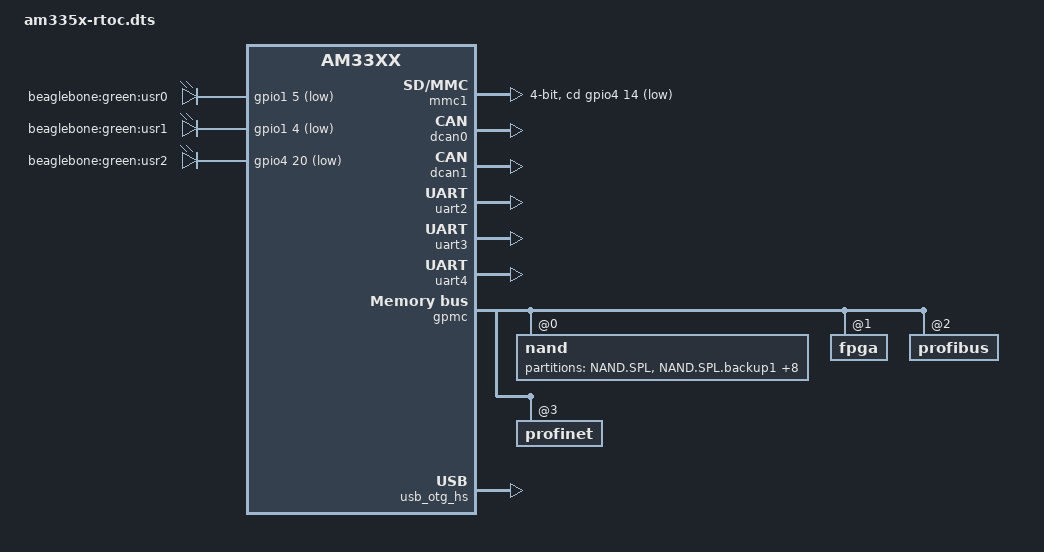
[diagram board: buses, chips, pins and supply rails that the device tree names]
/*
 * Copyright (C) 2012 Texas Instruments Incorporated - http://www.ti.com/
 *
 * This program is free software; you can redistribute it and/or modify
 * it under the terms of the GNU General Public License version 2 as
 * published by the Free Software Foundation.
 */
/dts-v1/;

/include/ "am33xx.dtsi"

/include/ "am335x-agv-common.dtsi"

&cpu {
	/*
	 * To consider voltage drop between PMIC and SoC,
	 * tolerance value is reduced to 2% from 4% and
	 * voltage value is increased as a precaution.
	 */
	operating-points = <
		/* kHz    uV */
		800000	1300000
		600000  1112000
		300000   969000
	>;
};

&i2c2 {
	status = "disabled";
};

&am33xx_pinmux {
	userled_pins: pinmux_userled_pins {
		pinctrl-single,pins = <
			0x15C 0x7	/* SPI0_CS0.gpio0_5 */
			0x158 0x7	/* SPI0_D1.gpio0_4 */
			0x1A8 0x7	/* MCASP0_AXR1.gpio3_20 */
		>;
	};
	gpmc_pins: pinmux_gpmc_pins {
		pinctrl-single,pins = <
			0x0	0x30	/* gpmc_ad0.gpmc_ad0 */
			0x4	0x30	/* gpmc_ad1.gpmc_ad1 */
			0x8	0x30	/* gpmc_ad2.gpmc_ad2 */
			0xc	0x30	/* gpmc_ad3.gpmc_ad3 */
			0x10	0x30	/* gpmc_ad4.gpmc_ad4 */
			0x14	0x30	/* gpmc_ad5.gpmc_ad5 */
			0x18	0x30	/* gpmc_ad6.gpmc_ad6 */
			0x1c	0x30	/* gpmc_ad7.gpmc_ad7 */
			0x70	0x30	/* gpmc_wait0.gpmc_wait0 */
			/* 0x74	0x37 */	/* gpmc_wpn.gpio0_30 */
			0x7c	0x10	/* gpmc_csn0.gpmc_csn0  */
			0x90	0x10	/* gpmc_advn_ale.gpmc_advn_ale */
			0x94	0x10	/* gpmc_oen_ren.gpmc_oen_ren */
			0x98	0x10	/* gpmc_wen.gpmc_wen */
			0x9c	0x10	/* gpmc_be0n_cle.gpmc_be0n_cle */
			/* for fpga */
			0x20	0x30	/* gpmc_ad8.gpmc_ad8 MODE0 | INPUT | PULLUP */
			0x24	0x30	/* gpmc_ad9.gpmc_ad9 MODE0 | INPUT | PULLUP */
			0x28	0x30	/* gpmc_ad10.gpmc_ad10 MODE0 | INPUT | PULLUP */
			0x2C	0x30	/* gpmc_ad11.gpmc_ad11 MODE0 | INPUT | PULLUP */
			0x30	0x30	/* gpmc_ad12.gpmc_ad12 MODE0 | INPUT | PULLUP */
			0x34	0x30	/* gpmc_ad13.gpmc_ad13 MODE0 | INPUT | PULLUP */
			0x38	0x30	/* gpmc_ad14.gpmc_ad14 MODE0 | INPUT | PULLUP */
			0x3C	0x30	/* gpmc_ad15.gpmc_ad15 MODE0 | INPUT | PULLUP */
			0x80	0x08	/* gpmc_cscn1.gpmc_cscn1 MODE0 | OUTPUT */
			0x40	0x08	/* gpmc_a0.gpmc_a0 MODE0 */
			0x44	0x08	/* gpmc_a1.gpmc_a1 MODE0 */
			0x48	0x08	/* gpmc_a2.gpmc_a2 MODE0 */
			0x4C	0x08	/* gpmc_a3.gpmc_a2 MODE0 */
			0x50	0x08	/* gpmc_a4.gpmc_a4 MODE0 */
			0x54	0x08	/* gpmc_a5.gpmc_a5 MODE0 */
			0x58	0x08	/* gpmc_a6.gpmc_a6 MODE0 */
			0x5C	0x08	/* gpmc_a7.gpmc_a7 MODE0 */
			/* for profibus&profinet */
			0x84	0x08	/* gpmc_cscn2.gpmc_cscn2 MODE0 | OUTPUT */
			0x88	0x08	/* gpmc_cscn3.gpmc_cscn3 MODE0 | OUTPUT */
			0x60	0x08	/* gpmc_a8.gpmc_a8 MODE0 */
			0x64	0x08	/* gpmc_a9.gpmc_a9 MODE0 */
			0x68	0x08	/* gpmc_a10.gpmc_a10 MODE0 */
			0x6C	0x08	/* gpmc_a11.gpmc_a11 MODE0 */
		>;
	};
	mmc1_pins: pinmux_mmc1_pins {
		pinctrl-single,pins = <
			0x1A4 0x2f /* GPIO3_19 (PIN_INPUT | MUX_MODE7) */
		>;
	};
	dcan0_pins: pinmux_dcan0_pins {
		pinctrl-single,pins = <
			0x178 0x12 	/* uart1_ctsn, SLEWCTRL_FAST | INPUT_PULLUP | MODE2 | TX */
			0x17c 0x32	/* uart1_rtsn, SLEWCTRL_FAST | RECV_ENABLE | INPUT_PULLUP | MODE2 | RX */
		>;
	};
	dcan1_pins: pinmux_dcan1_pins {
		pinctrl-single,pins = <
			0x168 0x12 	/* uart0_ctsn, SLEWCTRL_FAST | INPUT_PULLUP | MODE2 | TX */
			0x16c 0x32	/* uart0_rtsn, SLEWCTRL_FAST | RECV_ENABLE | INPUT_PULLUP | MODE2 | RX */
		>;
	};
	uart2_pins: pinmux_uart2_pins {
		pinctrl-single,pins = <
			0x180 0x30	/* uart1_rxd, MODE0 | PULLUP_EN | RXACTIVE */
			0x184 0x0	/* uart1_txd, MODE0 */
		>;
	};
	uart3_pins: pinmux_uart3_pins {
		pinctrl-single,pins = <
			0x150 0x31	/* spi0_clk, MODE1 | PULLUP_EN | RXACTIVE */
			0x154 0x01	/* spi0_d0, MODE1 */
		>;
	};
	uart4_pins: pinmux_uart4_pins {
		pinctrl-single,pins = <
			0x160 0x31	/* spi0_cs1, MODE1 | PULLUP_EN | RXACTIVE */
			0x164 0x01	/* lcd_enbkl eCAP0_in_PWM0_out, MODE1 */
		>;
	};
	gpio_helper_pins: pinmux_gpio_helper_pins {
		pinctrl-single,pins = <
			0x8C	0x7	/* gpmc_CLK.gpmc_wait1 GPIO2[1] MODE2, 24V ctrl */
			0x1AC 0x7	/* MCASP0_AHCLKX GPIO3[21], OUTPUT | MODE7 --> USER LED */
			0x1a0 0x17	/* mcasp0_aclkr GPIO3[18], OUTPUT_PULLUP | MODE7 --> UART3_DE */
		>;
	};
};

&ocp {
	gpio-leds {
		compatible = "gpio-leds";
		pinctrl-names = "default";
		pinctrl-0 = <&userled_pins>;

		led0 {
			label = "beaglebone:green:usr0";
			gpios = <&gpio1 5 1>;
			linux,default-trigger = "heartbeat";
			default-state = "off";
		};

		led1 {
			label = "beaglebone:green:usr1";
			gpios = <&gpio1 4 1>;
			linux,default-trigger = "mmc0";
			default-state = "off";
		};

		led2 {
			label = "beaglebone:green:usr2";
			gpios = <&gpio4 20 1>;
			linux,default-trigger = "cpu0";
			default-state = "off";
		};

	};

	gpio_helper {
		compatible = "gpio-of-helper";
		status = "okay";
		pinctrl-names = "default";
		pinctrl-0 = <&gpio_helper_pins>;

		/* declare your gpios */
		test_led {
			gpio-name = "test_led";
			gpio = <&gpio4 21 0x00>;	/* gpio2 is gpio1, active_low = 0 */
			output;
			init-high;
		};
		ctl24v {
			gpio-name = "ctl24v";
			gpio = <&gpio3 1 0x00>;		/* gpio4 is gpio3, active_low = 0 */
			output;
			init-high;
		};
		uart3_de {
			gpio-name = "uart3_de";
			gpio = <&gpio4 18 0x00>;		/* gpio4 is gpio3, active_low = 0 */
			output;
			init-low;
		};
	};
};

/*
&cpsw_emac0 {
	phy_id = <&davinci_mdio>, <0>;
};

&cpsw_emac1 {
	phy_id = <&davinci_mdio>, <1>;
};
*/

&mmc1 {
	pinctrl-names = "default";
	pinctrl-0 = <&mmc1_pins>;
	bus-width = <0x4>;
	cd-gpios = <&gpio4 14 0>; /* gpio3 is misnamed, 0 == GPIO_ACTIVE_HIGH */
	cd-inverted;
	status = "okay";
	/* vmmc-supply = <&ldo4_reg>; */
	ti,vcc-aux-disable-is-sleep;
};

&dcan0 {
	status = "okay";
	pinctrl-names = "default";
	pinctrl-0 = <&dcan0_pins>;
};

&dcan1 {
	status = "okay";
	pinctrl-names = "default";
	pinctrl-0 = <&dcan1_pins>;
};

&uart2 {
	pinctrl-names = "default";
	pinctrl-0 = <&uart2_pins>;
	status = "okay";
};

&uart3 {
	pinctrl-names = "default";
	pinctrl-0 = <&uart3_pins>;
	status = "okay";
};

&uart4 {
	pinctrl-names = "default";
	pinctrl-0 = <&uart4_pins>;
	status = "okay";
};

&gpmc {
	status = "okay";
	pinctrl-names = "default";
	pinctrl-0 = <&gpmc_pins>;
	ranges = <0 0 0x08000000 0x1000000>,	/* CS0: 16MB for NAND */
			 <1 0 0x10000000 0x1000000>,	/* CS1: 16MB for fpga */
			 <2 0 0x18000000 0x1000000>,	/* CS1: 16MB for PROFIBUS */
			 <3 0 0x20000000 0x1000000>;	/* CS1: 16MB for PROFINET */
	nand@0,0 {
		reg = <0 0 0>;		/* CS0, offset 0 */
		ti,nand-ecc-opt = "bch8";
		/* ti,elm-id = <&elm>; */	/* unsupport */
		nand-bus-width = <8>;
		gpmc,device-width = <1>;
		gpmc,sync-clk-ps = <0>;		/* timings */
		gpmc,cs-on-ns = <0>;
		gpmc,cs-rd-off-ns = <170>;
		gpmc,cs-wr-off-ns = <170>;
		gpmc,adv-on-ns = <50>;
		gpmc,adv-rd-off-ns = <120>;
		gpmc,adv-wr-off-ns = <120>;
		gpmc,we-on-ns = <0>;
		gpmc,we-off-ns = <90>;
		gpmc,oe-on-ns = <0>;
		gpmc,oe-off-ns = <90>;
		gpmc,access-ns = <90>;
		gpmc,rd-cycle-ns = <150>;
		gpmc,wr-cycle-ns = <150>;
		gpmc,wait-on-read = "true";
		gpmc,wait-on-write = "true";
		/* gpmc,wait-pin = <0>; */
		gpmc,bus-turnaround-ns = <0>;
		gpmc,cycle2cycle-delay-ns = <0>;
		gpmc,clk-activation-ns = <0>;
		gpmc,wait-monitoring-ns = <0>;
		gpmc,wr-access-ns = <100>;
		gpmc,wr-data-mux-bus-ns = <0>;
		gpmc,device-nand = "true";
		/* MTD partition table */
		/* All SPL-* partitions are sized to minimal length
		 * which can be independently programmable. For
		 * NAND flash this is equal to size of erase-block */
		#address-cells = <1>;
		#size-cells = <1>;
		partition@0 {
			label = "NAND.SPL";
			reg = <0x00000000 0x000020000>;		/* offset, size */
		};
		partition@1 {
			label = "NAND.SPL.backup1";
			reg = <0x00020000 0x00020000>;
		};
		partition@2 {
			label = "NAND.SPL.backup2";
			reg = <0x00040000 0x00020000>;
		};
		partition@3 {
			label = "NAND.SPL.backup3";
			reg = <0x00060000 0x00020000>;
		};
		partition@4 {
			label = "NAND.u-boot-spl-os";
			reg = <0x00080000 0x00040000>;
		};
		partition@5 {
			label = "NAND.u-boot";
			reg = <0x000C0000 0x00100000>;
		};
		partition@6 {
			label = "NAND.u-boot-env";
			reg = <0x001C0000 0x00020000>;
		};
		partition@7 {
			label = "NAND.u-boot-env.backup1";
			reg = <0x001E0000 0x00020000>;
		};
		partition@8 {
			label = "NAND.kernel";
			reg = <0x00200000 0x00800000>;
		};
		partition@9 {
			label = "NAND.file-system";
			reg = <0x00A00000 0x0F600000>;
		};
	};
	fpga@1,0 {
		reg = <1 0 0x1000000>;		/* CS1, offset 0 */
		bank-width = <2>;
		gpmc,device-width = <2>;
		gpmc,sync-clk-ps = <0>;		/* timings */
		gpmc,cs-on-ns = <0>;
		gpmc,cs-rd-off-ns = <80>;
		gpmc,cs-wr-off-ns = <70>;
		gpmc,adv-on-ns = <0>;
		gpmc,adv-rd-off-ns = <0>;
		gpmc,adv-wr-off-ns = <0>;
		gpmc,we-on-ns = <10>;
		gpmc,we-off-ns = <70>;
		gpmc,oe-on-ns = <10>;
		gpmc,oe-off-ns = <70>;
		gpmc,access-ns = <60>;
		gpmc,rd-cycle-ns = <70>;
		gpmc,wr-cycle-ns = <60>;
		gpmc,wr-access-ns = <10>;
		#address-cells = <1>;
		#size-cells = <1>;
	};
	profibus@2,0 {
		reg = <2 0 0x1000000>;		/* CS1, offset 0 */
		bank-width = <2>;
		gpmc,device-width = <2>;
		gpmc,sync-clk-ps = <0>;		/* timings */
		gpmc,cs-on-ns = <0>;
		gpmc,cs-rd-off-ns = <80>;
		gpmc,cs-wr-off-ns = <70>;
		gpmc,adv-on-ns = <0>;
		gpmc,adv-rd-off-ns = <0>;
		gpmc,adv-wr-off-ns = <0>;
		gpmc,we-on-ns = <10>;
		gpmc,we-off-ns = <70>;
		gpmc,oe-on-ns = <10>;
		gpmc,oe-off-ns = <70>;
		gpmc,access-ns = <60>;
		gpmc,rd-cycle-ns = <70>;
		gpmc,wr-cycle-ns = <60>;
		gpmc,wr-access-ns = <10>;
		#address-cells = <1>;
		#size-cells = <1>;
	};
	profinet@3,0 {
		reg = <3 0 0x1000000>;		/* CS1, offset 0 */
		bank-width = <2>;
		gpmc,device-width = <2>;
		gpmc,sync-clk-ps = <0>;		/* timings */
		gpmc,cs-on-ns = <0>;
		gpmc,cs-rd-off-ns = <80>;
		gpmc,cs-wr-off-ns = <70>;
		gpmc,adv-on-ns = <0>;
		gpmc,adv-rd-off-ns = <0>;
		gpmc,adv-wr-off-ns = <0>;
		gpmc,we-on-ns = <10>;
		gpmc,we-off-ns = <70>;
		gpmc,oe-on-ns = <10>;
		gpmc,oe-off-ns = <70>;
		gpmc,access-ns = <60>;
		gpmc,rd-cycle-ns = <70>;
		gpmc,wr-cycle-ns = <60>;
		gpmc,wr-access-ns = <10>;
		#address-cells = <1>;
		#size-cells = <1>;
	};
};

&usb_otg_hs {
	interface_type = <1>;
	power = <250>;
	/* port0-mode = <0>; */
	port1-mode = <1>;	/* HOST 1; PERIPHERAL 2, OTG 3 */
	status = "okay";
};
